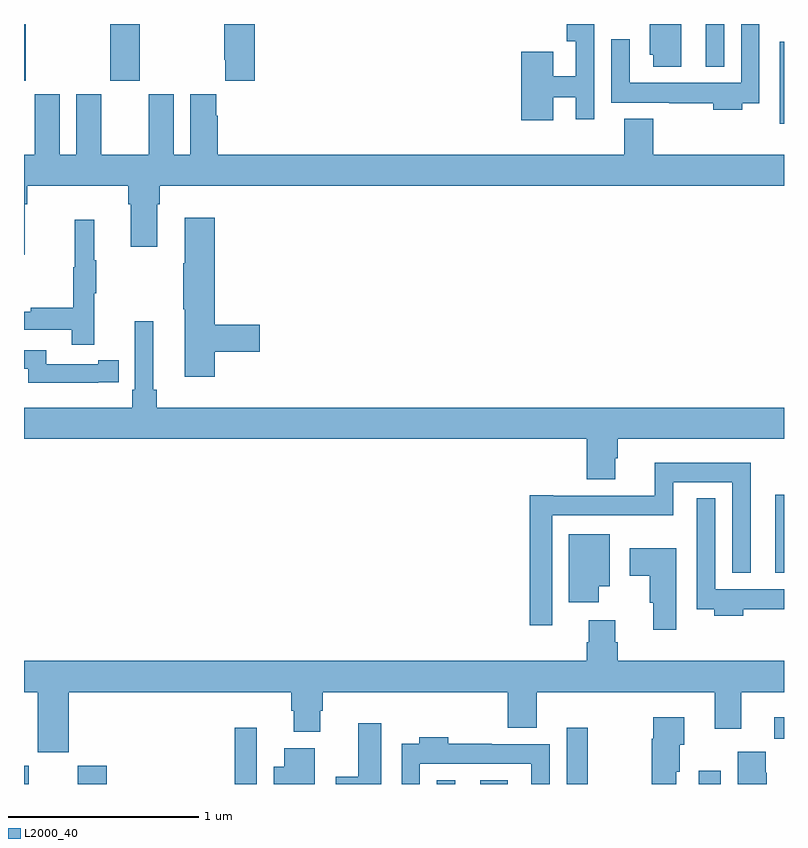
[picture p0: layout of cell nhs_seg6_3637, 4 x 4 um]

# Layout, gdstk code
import gdstk
lib = gdstk.Library(unit=1e-6, precision=1e-09)
def R(c, l, rs):  # rectangles x0, y0, x1, y1
    for r in rs: c.add(gdstk.rectangle(r[:2], r[2:], *l))
def P(c, l, *ps):  # polygons
    for p in ps: c.add(gdstk.Polygon(p, *l))
L2000_40 = (2000, 40)

nhs_seg6_3637 = lib.new_cell('nhs_seg6_3637')
R(nhs_seg6_3637, L2000_40, [(323,965.5,323.026,965.595), (323.282,965.5,323.435,965.595), (324.109,965.5,324.225,965.797), (325.173,965.5,325.27,965.521), (325.4,965.5,325.546,965.521), (325.857,965.5,325.966,965.797), (326.55,965.5,326.667,965.569), (326.949,965.739,327,965.851), (326.954,966.612,327,967.023), (326.978,968.976,327,969.406), (323,969.201,323.01,969.5), (323.455,969.201,323.61,969.5), (326.588,969.275,326.685,969.5)])
P(nhs_seg6_3637, L2000_40, [(326.779,969.084),(326.871,969.084),(326.871,969.5),(326.775,969.5),(326.775,969.19),(326.187,969.19),(326.187,969.421),(326.091,969.421),(326.091,969.086),(326.395,969.086),(326.395,969.084),(326.627,969.084),(326.627,969.05),(326.779,969.05)],
  [(326.458,969.5),(326.294,969.5),(326.294,969.339),(326.312,969.339),(326.312,969.276),(326.458,969.276)],
  [(325.786,969.114),(325.905,969.114),(325.905,969),(326.001,969),(326.001,969.5),(325.856,969.5),(325.856,969.41),(325.905,969.41),(325.905,969.224),(325.786,969.224),(325.786,969.355),(325.616,969.355),(325.616,968.994),(325.786,968.994)],
  [(324.215,969.5),(324.055,969.5),(324.055,969.313),(324.059,969.313),(324.059,969.201),(324.215,969.201)],
  [(323.005,968.552),(323.018,968.552),(323.018,968.648),(323.549,968.648),(323.549,968.552),(323.561,968.552),(323.561,968.328),(323.701,968.328),(323.701,968.552),(323.714,968.552),(323.714,968.648),(327,968.648),(327,968.812),(326.312,968.812),(326.312,969.001),(326.159,969.001),(326.159,968.812),(324.02,968.812),(324.02,969.017),(324.013,969.017),(324.013,969.13),(323.876,969.13),(323.876,968.812),(323.788,968.812),(323.788,969.13),(323.657,969.13),(323.657,968.812),(323.407,968.812),(323.407,969.13),(323.276,969.13),(323.276,968.812),(323.188,968.812),(323.188,969.13),(323.057,969.13),(323.057,968.812),(323,968.812),(323,968.286),(323.005,968.286)],
  [(324.005,967.774),(324.241,967.774),(324.241,967.916),(324.005,967.916),(324.005,968.479),(323.846,968.479),(323.846,968.24),(323.839,968.24),(323.839,967.999),(323.846,967.999),(323.846,967.644),(324.005,967.644)],
  [(323.369,968.083),(323.38,968.083),(323.38,968.257),(323.369,968.257),(323.369,968.47),(323.266,968.47),(323.266,968.22),(323.259,968.22),(323.259,968.006),(323.035,968.006),(323.035,967.986),(323,967.986),(323,967.89),(323.251,967.89),(323.251,967.812),(323.369,967.812)],
  [(326.113,967.215),(326.126,967.215),(326.126,967.316),(327,967.316),(327,967.48),(323.699,967.48),(323.699,967.576),(323.68,967.576),(323.68,967.936),(323.583,967.936),(323.583,967.576),(323.57,967.576),(323.57,967.48),(323,967.48),(323,967.316),(325.961,967.316),(325.961,967.103),(326.113,967.103)],
  [(323.39,967.614),(323.498,967.614),(323.498,967.73),(323.39,967.73),(323.39,967.71),(323.118,967.71),(323.118,967.782),(323,967.782),(323,967.686),(323.022,967.686),(323.022,967.613),(323.39,967.613)],
  [(325.779,966.914),(326.418,966.914),(326.418,967.088),(326.727,967.088),(326.727,966.611),(326.824,966.611),(326.824,967.192),(326.321,967.192),(326.321,967.018),(325.786,967.018),(325.786,967.021),(325.663,967.021),(325.663,966.336),(325.779,966.336)],
  [(326.786,966.42),(327,966.42),(327,966.526),(326.637,966.526),(326.637,967.003),(326.541,967.003),(326.541,966.42),(326.633,966.42),(326.633,966.386),(326.786,966.386)],
  [(326.026,966.542),(326.083,966.542),(326.083,966.814),(325.868,966.814),(325.868,966.456),(326.026,966.456)],
  [(326.434,966.742),(326.187,966.742),(326.187,966.595),(326.294,966.595),(326.294,966.453),(326.312,966.453),(326.312,966.312),(326.434,966.312)],
  [(323.236,965.984),(324.407,965.984),(324.407,965.886),(324.419,965.886),(324.419,965.774),(324.559,965.774),(324.559,965.886),(324.572,965.886),(324.572,965.984),(325.547,965.984),(325.547,965.795),(325.699,965.795),(325.699,965.984),(326.636,965.984),(326.636,965.79),(326.776,965.79),(326.776,965.984),(327,965.984),(327,966.148),(326.126,966.148),(326.126,966.246),(326.113,966.246),(326.113,966.361),(325.973,966.361),(325.973,966.246),(325.961,966.246),(325.961,966.148),(323,966.148),(323,965.984),(323.072,965.984),(323.072,965.667),(323.236,965.667)],
  [(326.434,965.565),(326.452,965.565),(326.452,965.706),(326.476,965.706),(326.476,965.851),(326.312,965.851),(326.312,965.738),(326.305,965.738),(326.305,965.5),(326.434,965.5)],
  [(324.88,965.821),(324.758,965.821),(324.758,965.538),(324.641,965.538),(324.641,965.5),(324.88,965.5)],
  [(325.083,965.606),(325.671,965.606),(325.671,965.5),(325.767,965.5),(325.767,965.71),(325.463,965.71),(325.463,965.713),(325.232,965.713),(325.232,965.746),(325.079,965.746),(325.079,965.713),(324.987,965.713),(324.987,965.5),(325.083,965.5)],
  [(324.529,965.689),(324.371,965.689),(324.371,965.59),(324.314,965.59),(324.314,965.5),(324.529,965.5)],
  [(326.908,965.558),(326.905,965.558),(326.905,965.671),(326.756,965.671),(326.756,965.5),(326.908,965.5)])

lib.write_gds('nhs_seg6_3637.gds')
